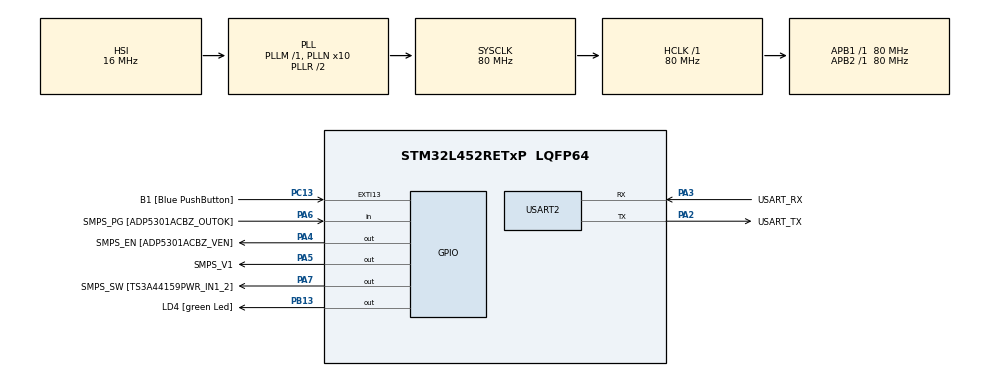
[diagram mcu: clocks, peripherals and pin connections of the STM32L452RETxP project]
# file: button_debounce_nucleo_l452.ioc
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Mcu.Family=STM32L4
Mcu.Name=STM32L452RETxP
Mcu.Package=LQFP64
NVIC.EXTI15_10_IRQn=true\:15\:0\:true\:false\:true\:true\:true
NVIC.PriorityGroup=NVIC_PRIORITYGROUP_4
PA13\ (JTMS/SWDIO).GPIO_Label=TMS
PA13\ (JTMS/SWDIO).Mode=Serial_Wire
PA13\ (JTMS/SWDIO).Signal=SYS_JTMS-SWDIO
PA14\ (JTCK/SWCLK).GPIO_Label=TCK
PA14\ (JTCK/SWCLK).Mode=Serial_Wire
PA14\ (JTCK/SWCLK).Signal=SYS_JTCK-SWCLK
PA2.GPIO_Label=USART_TX
PA2.GPIO_Mode=GPIO_MODE_AF_PP
PA2.GPIO_PuPd=GPIO_NOPULL
PA2.GPIO_Speed=GPIO_SPEED_FREQ_VERY_HIGH
PA2.Mode=Asynchronous
PA2.Signal=USART2_TX
PA3.GPIO_Label=USART_RX
PA3.GPIO_Mode=GPIO_MODE_AF_PP
PA3.GPIO_PuPd=GPIO_NOPULL
PA3.GPIO_Speed=GPIO_SPEED_FREQ_VERY_HIGH
PA3.Mode=Asynchronous
PA3.Signal=USART2_RX
PA4.GPIO_Label=SMPS_EN [ADP5301ACBZ_VEN]
PA4.Signal=GPIO_Output
PA5.GPIO_Label=SMPS_V1
PA5.GPIO_ModeDefaultOutputPP=GPIO_MODE_OUTPUT_PP
PA5.GPIO_PuPd=GPIO_NOPULL
PA5.GPIO_Speed=GPIO_SPEED_FREQ_LOW
PA5.Signal=GPIO_Output
PA6.GPIO_Label=SMPS_PG [ADP5301ACBZ_OUTOK]
PA6.GPIO_PuPd=GPIO_PULLUP
PA6.Signal=GPIO_Input
PA7.GPIO_Label=SMPS_SW [TS3A44159PWR_IN1_2]
PA7.Signal=GPIO_Output
PB13.GPIO_Label=LD4 [green Led]
PB13.Signal=GPIO_Output
PB3\ (JTDO/TRACESWO).GPIO_Label=SWO
PB3\ (JTDO/TRACESWO).Signal=SYS_JTDO-SWO
PC13.GPIO_Label=B1 [Blue PushButton]
PC13.GPIO_ModeDefaultEXTI=GPIO_MODE_IT_RISING_FALLING
PC13.GPIO_PuPd=GPIO_NOPULL
PC13.Signal=GPXTI13
PC14-OSC32_IN\ (PC14).Mode=LSE-External-Oscillator
PC14-OSC32_IN\ (PC14).Signal=RCC_OSC32_IN
PC15-OSC32_OUT\ (PC15).Mode=LSE-External-Oscillator
PC15-OSC32_OUT\ (PC15).Signal=RCC_OSC32_OUT
PH0-OSC_IN\ (PH0).GPIO_Label=MCO
PH0-OSC_IN\ (PH0).Mode=HSE-External-Clock-Source
PH0-OSC_IN\ (PH0).Signal=RCC_OSC_IN
PH1-OSC_OUT\ (PH1).Signal=RCC_OSC_OUT
ProjectManager.HeapSize=0x200
ProjectManager.StackSize=0x400
ProjectManager.TargetToolchain=STM32CubeIDE
RCC.ADCFreq_Value=64000000
RCC.AHBFreq_Value=80000000
RCC.APB1Freq_Value=80000000
RCC.APB1TimFreq_Value=80000000
RCC.APB2Freq_Value=80000000
RCC.APB2TimFreq_Value=80000000
RCC.CortexFreq_Value=80000000
RCC.HCLKFreq_Value=80000000
RCC.HSE_VALUE=8000000
RCC.HSI48_VALUE=48000000
RCC.HSI_VALUE=16000000
RCC.MSI_VALUE=4000000
RCC.PLLN=10
RCC.PLLSourceVirtual=RCC_PLLSOURCE_HSI
RCC.PREFETCH_ENABLE=1
RCC.SYSCLKFreq_VALUE=80000000
RCC.SYSCLKSource=RCC_SYSCLKSOURCE_PLLCLK
RCC.USBFreq_Value=64000000
RCC.VCOOutputFreq_Value=160000000
USART2.VirtualMode-Asynchronous=VM_ASYNC
board=NUCLEO-L452RE-P

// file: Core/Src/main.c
/* USER CODE BEGIN Header */
/**
  ******************************************************************************
  * @file           : main.c
  * @brief          : Main program body
  ******************************************************************************
  * @attention
  *
  * Copyright (c) 2021 STMicroelectronics.
  * All rights reserved.
  *
  * This software is licensed under terms that can be found in the LICENSE file
  * in the root directory of this software component.
  * If no LICENSE file comes with this software, it is provided AS-IS.
  *
  ******************************************************************************
  */
/* USER CODE END Header */
#include "main.h"

/* USER CODE BEGIN Includes */
#include "stm32l4xx_nucleo.h"
#include "systick_timer.h"
#include "button_interrupt.h"
/* USER CODE END Includes */

UART_HandleTypeDef huart2;

void SystemClock_Config(void);
static void MX_GPIO_Init(void);
static void MX_USART2_UART_Init(void);

/* USER CODE BEGIN 0 */
SYSTick_Timer_t  timer_1 , timer_2;
/* USER CODE END 0 */

int main(void)
{

  /* MCU Configuration--------------------------------------------------------*/

  /* Reset of all peripherals, Initializes the Flash interface and the Systick. */
  HAL_Init();

  /* Configure the system clock */
  SystemClock_Config();

  /* Initialize all configured peripherals */
  MX_GPIO_Init();
  MX_USART2_UART_Init();
  /* USER CODE BEGIN 2 */
  BSP_LED_Init(LED2);
  //BSP_PB_Init(BUTTON_USER, BUTTON_MODE_GPIO);
  init_button_state();
  start_systick_timer(&timer_1, 100);
  start_systick_timer(&timer_2, 500);
  /* USER CODE END 2 */

  /* Infinite loop */
  while (1)
  {

    /* USER CODE BEGIN 3 */
    if(Timer_Expired == get_systick_timer(&button_debounce_timer))
    {
      user_button_changed = 0;
      button_debouce_followup_process();
    }

    if(0 == user_button_state)
    { // BUTTON_USER pressed
      if(Timer_Expired == get_systick_timer(&timer_1))
      {
        BSP_LED_Toggle(LED2);
        start_systick_timer(&timer_1, 100);
      }
      start_systick_timer(&timer_2, 500);
    }
    else
    { // BUTTON_USER released
      if(Timer_Expired == get_systick_timer(&timer_2))
      {
        BSP_LED_Toggle(LED2);
        start_systick_timer(&timer_2, 500);
      }
      start_systick_timer(&timer_1, 100);
    }
  }
  /* USER CODE END 3 */
}

void SystemClock_Config(void)
{
  RCC_OscInitTypeDef RCC_OscInitStruct = {0};
  RCC_ClkInitTypeDef RCC_ClkInitStruct = {0};

  /** Configure the main internal regulator output voltage
  */
  if (HAL_PWREx_ControlVoltageScaling(PWR_REGULATOR_VOLTAGE_SCALE1) != HAL_OK)
  {
    Error_Handler();
  }
  /** Initializes the RCC Oscillators according to the specified parameters
  * in the RCC_OscInitTypeDef structure.
  */
  RCC_OscInitStruct.OscillatorType = RCC_OSCILLATORTYPE_HSI;
  RCC_OscInitStruct.HSIState = RCC_HSI_ON;
  RCC_OscInitStruct.HSICalibrationValue = RCC_HSICALIBRATION_DEFAULT;
  RCC_OscInitStruct.PLL.PLLState = RCC_PLL_ON;
  RCC_OscInitStruct.PLL.PLLSource = RCC_PLLSOURCE_HSI;
  RCC_OscInitStruct.PLL.PLLM = 1;
  RCC_OscInitStruct.PLL.PLLN = 10;
  RCC_OscInitStruct.PLL.PLLP = RCC_PLLP_DIV7;
  RCC_OscInitStruct.PLL.PLLQ = RCC_PLLQ_DIV2;
  RCC_OscInitStruct.PLL.PLLR = RCC_PLLR_DIV2;
  if (HAL_RCC_OscConfig(&RCC_OscInitStruct) != HAL_OK)
  {
    Error_Handler();
  }
  /** Initializes the CPU, AHB and APB buses clocks
  */
  RCC_ClkInitStruct.ClockType = RCC_CLOCKTYPE_HCLK|RCC_CLOCKTYPE_SYSCLK
                              |RCC_CLOCKTYPE_PCLK1|RCC_CLOCKTYPE_PCLK2;
  RCC_ClkInitStruct.SYSCLKSource = RCC_SYSCLKSOURCE_PLLCLK;
  RCC_ClkInitStruct.AHBCLKDivider = RCC_SYSCLK_DIV1;
  RCC_ClkInitStruct.APB1CLKDivider = RCC_HCLK_DIV1;
  RCC_ClkInitStruct.APB2CLKDivider = RCC_HCLK_DIV1;

  if (HAL_RCC_ClockConfig(&RCC_ClkInitStruct, FLASH_LATENCY_4) != HAL_OK)
  {
    Error_Handler();
  }
}

static void MX_USART2_UART_Init(void)
{

  huart2.Instance = USART2;
  huart2.Init.BaudRate = 115200;
  huart2.Init.WordLength = UART_WORDLENGTH_8B;
  huart2.Init.StopBits = UART_STOPBITS_1;
  huart2.Init.Parity = UART_PARITY_NONE;
  huart2.Init.Mode = UART_MODE_TX_RX;
  huart2.Init.HwFlowCtl = UART_HWCONTROL_NONE;
  huart2.Init.OverSampling = UART_OVERSAMPLING_16;
  huart2.Init.OneBitSampling = UART_ONE_BIT_SAMPLE_DISABLE;
  huart2.AdvancedInit.AdvFeatureInit = UART_ADVFEATURE_NO_INIT;
  if (HAL_UART_Init(&huart2) != HAL_OK)
  {
    Error_Handler();
  }

}

static void MX_GPIO_Init(void)
{
  GPIO_InitTypeDef GPIO_InitStruct = {0};

  /* GPIO Ports Clock Enable */
  __HAL_RCC_GPIOC_CLK_ENABLE();
  __HAL_RCC_GPIOH_CLK_ENABLE();
  __HAL_RCC_GPIOA_CLK_ENABLE();
  __HAL_RCC_GPIOB_CLK_ENABLE();

  /*Configure GPIO pin Output Level */
  HAL_GPIO_WritePin(GPIOA, SMPS_EN_Pin|SMPS_V1_Pin|SMPS_SW_Pin, GPIO_PIN_RESET);

  /*Configure GPIO pin Output Level */
  HAL_GPIO_WritePin(LD4_GPIO_Port, LD4_Pin, GPIO_PIN_RESET);

  /*Configure GPIO pin : B1_Pin */
  GPIO_InitStruct.Pin = B1_Pin;
  GPIO_InitStruct.Mode = GPIO_MODE_IT_RISING_FALLING;
  GPIO_InitStruct.Pull = GPIO_NOPULL;
  HAL_GPIO_Init(B1_GPIO_Port, &GPIO_InitStruct);

  /*Configure GPIO pins : SMPS_EN_Pin SMPS_V1_Pin SMPS_SW_Pin */
  GPIO_InitStruct.Pin = SMPS_EN_Pin|SMPS_V1_Pin|SMPS_SW_Pin;
  GPIO_InitStruct.Mode = GPIO_MODE_OUTPUT_PP;
  GPIO_InitStruct.Pull = GPIO_NOPULL;
  GPIO_InitStruct.Speed = GPIO_SPEED_FREQ_LOW;
  HAL_GPIO_Init(GPIOA, &GPIO_InitStruct);

  /*Configure GPIO pin : SMPS_PG_Pin */
  GPIO_InitStruct.Pin = SMPS_PG_Pin;
  GPIO_InitStruct.Mode = GPIO_MODE_INPUT;
  GPIO_InitStruct.Pull = GPIO_PULLUP;
  HAL_GPIO_Init(SMPS_PG_GPIO_Port, &GPIO_InitStruct);

  /*Configure GPIO pin : LD4_Pin */
  GPIO_InitStruct.Pin = LD4_Pin;
  GPIO_InitStruct.Mode = GPIO_MODE_OUTPUT_PP;
  GPIO_InitStruct.Pull = GPIO_NOPULL;
  GPIO_InitStruct.Speed = GPIO_SPEED_FREQ_LOW;
  HAL_GPIO_Init(LD4_GPIO_Port, &GPIO_InitStruct);

  /* EXTI interrupt init*/
  HAL_NVIC_SetPriority(EXTI15_10_IRQn, 15, 0);
  HAL_NVIC_EnableIRQ(EXTI15_10_IRQn);

}

void Error_Handler(void)
{
  __disable_irq();
  while (1)
  {
  }
}
